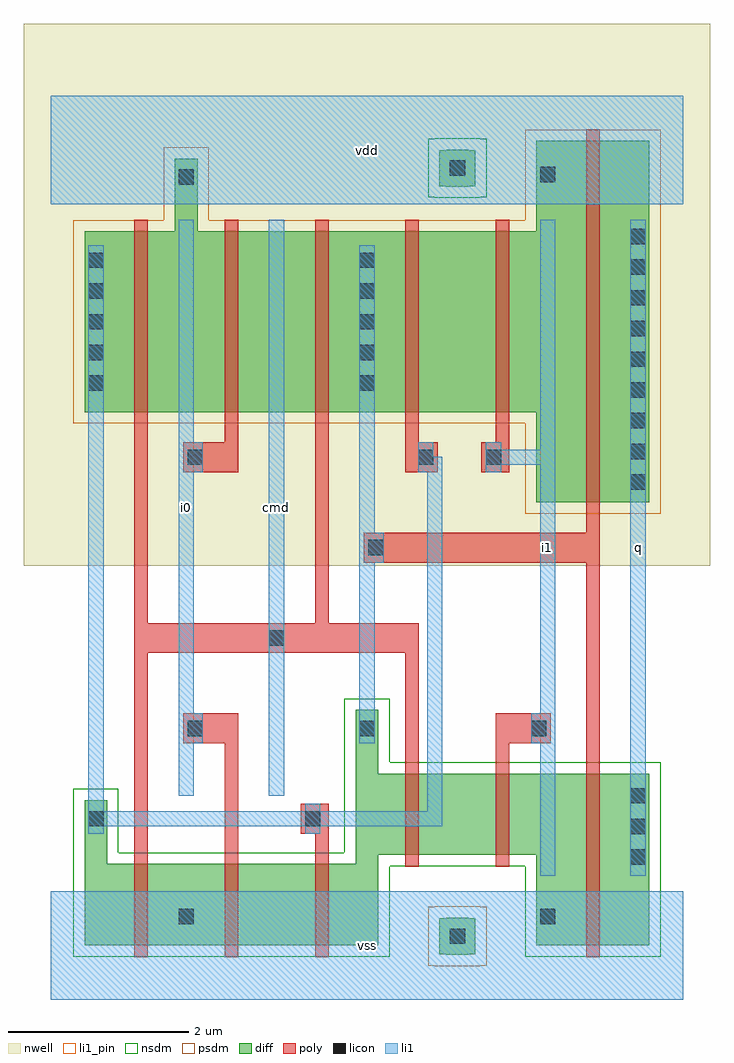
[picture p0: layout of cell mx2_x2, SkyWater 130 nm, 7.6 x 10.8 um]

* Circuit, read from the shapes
.subckt mx2_x2 cmd i0 i1 q vdd vss
XM1 vss cmd n1 VSUBS sky130_fd_pr__nfet_01v8 w=0.9 l=0.15
XM2 n2 i0 vss VSUBS sky130_fd_pr__nfet_01v8 w=0.9 l=0.15
XM3 n3 n1 n2 VSUBS sky130_fd_pr__nfet_01v8 w=0.9 l=0.15
XM4 n4 cmd n3 VSUBS sky130_fd_pr__nfet_01v8 w=0.9 l=0.15
XM5 vss i1 n4 VSUBS sky130_fd_pr__nfet_01v8 w=0.9 l=0.15
XM6 q n3 vss VSUBS sky130_fd_pr__nfet_01v8 w=1.9 l=0.15
XM7 vdd cmd n1 n5 sky130_fd_pr__pfet_01v8 w=2 l=0.15
XM8 n6 i0 vdd n5 sky130_fd_pr__pfet_01v8 w=2 l=0.15
XM9 n3 cmd n6 n5 sky130_fd_pr__pfet_01v8 w=2 l=0.15
XM10 n7 n1 n3 n5 sky130_fd_pr__pfet_01v8 w=2 l=0.15
XM11 vdd i1 n7 n5 sky130_fd_pr__pfet_01v8 w=2 l=0.15
XM12 q n3 vdd n5 sky130_fd_pr__pfet_01v8 w=4 l=0.15
.ends

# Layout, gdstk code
import gdstk
lib = gdstk.Library(unit=1e-6, precision=1e-09)
def R(c, l, rs):  # rectangles x0, y0, x1, y1
    for r in rs: c.add(gdstk.rectangle(r[:2], r[2:], *l))
def A(c, l, x, y, w, h, nx, ny, dx, dy):  # array of equal rectangles
    R(c, l, [(x+i*dx, y+j*dy, x+i*dx+w, y+j*dy+h) for i in range(nx) for j in range(ny)])
def P(c, l, *ps):  # polygons
    for p in ps: c.add(gdstk.Polygon(p, *l))
nwell = (64, 20)
diff = (65, 20)
poly = (66, 20)
licon = (66, 44)
li1_pin = (67, 16)
li1 = (67, 20)
nsdm = (93, 44)
psdm = (94, 20)

mx2_x2 = lib.new_cell('mx2_x2')
R(mx2_x2, nwell, [(-0.3,4.8,7.3,10.8)])
P(mx2_x2, diff, [(4.375,0.495),(4.375,0.5),(4.3,0.5),(4.3,0.9),(4.375,0.9),(4.375,0.905),(4.625,0.905),(4.625,0.9),(4.7,0.9),(4.7,0.5),(4.625,0.5),(4.625,0.495)],
  [(0.375,0.6),(0.375,2.205),(0.625,2.205),(0.625,1.5),(3.375,1.5),(3.375,3.205),(3.625,3.205),(3.625,2.5),(6.625,2.5),(6.625,0.6),(5.375,0.6),(5.375,1.6),(3.625,1.6),(3.625,0.6)],
  [(4.375,8.995),(4.375,9),(4.3,9),(4.3,9.4),(4.375,9.4),(4.375,9.405),(4.625,9.405),(4.625,9.4),(4.7,9.4),(4.7,9),(4.625,9),(4.625,8.995)],
  [(5.375,5.5),(5.375,6.5),(0.375,6.5),(0.375,8.5),(1.375,8.5),(1.375,9.305),(1.625,9.305),(1.625,8.5),(5.375,8.5),(5.375,9.5),(6.625,9.5),(6.625,5.5)])
P(mx2_x2, poly, [(2.925,0.47),(2.925,1.835),(2.765,1.835),(2.765,2.165),(3.075,2.165),(3.075,0.47)],
  [(1.925,0.47),(1.925,2.835),(1.465,2.835),(1.465,3.165),(2.075,3.165),(2.075,0.47)],
  [(4.925,1.47),(4.925,3.165),(5.535,3.165),(5.535,2.835),(5.075,2.835),(5.075,1.47)],
  [(1.465,5.835),(1.465,6.165),(1.925,6.165),(1.925,8.63),(2.075,8.63),(2.075,5.835)],
  [(0.925,0.47),(0.925,8.63),(1.075,8.63),(1.075,4.165),(2.925,4.165),(2.925,8.63),(3.075,8.63),(3.075,4.165),(4.075,4.165),(4.075,1.47),(3.925,1.47),(3.925,3.835),(1.075,3.835),(1.075,0.47)],
  [(3.925,5.835),(3.925,8.63),(4.075,8.63),(4.075,6.165),(4.285,6.165),(4.285,5.835)],
  [(4.765,5.835),(4.765,6.165),(4.925,6.165),(4.925,8.63),(5.075,8.63),(5.075,5.835)],
  [(5.925,0.47),(5.925,4.835),(3.465,4.835),(3.465,5.165),(5.925,5.165),(5.925,9.63),(6.075,9.63),(6.075,0.47)])
A(mx2_x2, licon, 6.415, 1.49, 0.17, 0.17, 1, 3, 0, 0.34)
A(mx2_x2, licon, 1.515, 2.915, 0.17, 0.17, 3, 1, 1.9, 0)
A(mx2_x2, licon, 6.415, 5.64, 0.17, 0.17, 1, 9, 0, 0.34)
A(mx2_x2, licon, 0.415, 6.735, 0.17, 0.17, 1, 5, 0, 0.34)
A(mx2_x2, licon, 3.415, 6.735, 0.17, 0.17, 1, 5, 0, 0.34)
R(mx2_x2, licon, [(4.415,0.615,4.585,0.785), (1.415,0.835,1.585,1.005), (5.415,0.835,5.585,1.005), (0.415,1.915,0.585,2.085), (2.815,1.915,2.985,2.085), (2.415,3.915,2.585,4.085), (3.515,4.915,3.685,5.085), (1.515,5.915,1.685,6.085), (4.065,5.915,4.235,6.085), (4.815,5.915,4.985,6.085), (1.415,9.015,1.585,9.185), (5.415,9.045,5.585,9.215), (4.415,9.115,4.585,9.285)])
R(mx2_x2, li1_pin, [(0,0,7,1.2), (5.415,1.37,5.585,8.63), (6.415,1.37,6.585,8.63), (1.415,2.255,1.585,8.63), (2.415,2.255,2.585,8.63), (0,8.8,7,10)])
R(mx2_x2, li1, [(0,0,7,1.2), (6.415,1.37,6.585,8.63), (2.415,2.255,2.585,8.63), (0,8.8,7,10)])
P(mx2_x2, li1, [(0.415,1.835),(0.415,8.345),(0.585,8.345),(0.585,2.085),(2.815,2.085),(2.815,2.165),(2.985,2.165),(2.985,2.085),(4.165,2.085),(4.165,5.835),(4.065,5.835),(4.065,6.165),(4.235,6.165),(4.235,6.005),(4.335,6.005),(4.335,1.915),(2.985,1.915),(2.985,1.835),(2.815,1.835),(2.815,1.915),(0.585,1.915),(0.585,1.835)],
  [(3.415,2.835),(3.415,8.345),(3.585,8.345),(3.585,5.165),(3.685,5.165),(3.685,4.835),(3.585,4.835),(3.585,2.835)],
  [(1.415,2.255),(1.415,8.63),(1.585,8.63),(1.585,6.165),(1.685,6.165),(1.685,5.835),(1.585,5.835),(1.585,3.165),(1.685,3.165),(1.685,2.835),(1.585,2.835),(1.585,2.255)],
  [(5.415,1.37),(5.415,2.835),(5.315,2.835),(5.315,3.165),(5.415,3.165),(5.415,5.915),(4.985,5.915),(4.985,5.835),(4.815,5.835),(4.815,6.165),(4.985,6.165),(4.985,6.085),(5.415,6.085),(5.415,8.63),(5.585,8.63),(5.585,1.37)])
P(mx2_x2, nsdm, [(0.25,0.475),(0.25,2.33),(0.75,2.33),(0.75,1.625),(3.25,1.625),(3.25,3.33),(3.75,3.33),(3.75,2.625),(6.75,2.625),(6.75,0.475),(5.25,0.475),(5.25,1.475),(3.75,1.475),(3.75,0.475)],
  [(4.25,8.87),(4.25,8.875),(4.175,8.875),(4.175,9.525),(4.25,9.525),(4.25,9.53),(4.75,9.53),(4.75,9.525),(4.825,9.525),(4.825,8.875),(4.75,8.875),(4.75,8.87)])
P(mx2_x2, psdm, [(4.25,0.37),(4.25,0.375),(4.175,0.375),(4.175,1.025),(4.25,1.025),(4.25,1.03),(4.75,1.03),(4.75,1.025),(4.825,1.025),(4.825,0.375),(4.75,0.375),(4.75,0.37)],
  [(5.25,5.375),(5.25,6.375),(0.25,6.375),(0.25,8.625),(1.25,8.625),(1.25,9.43),(1.75,9.43),(1.75,8.625),(5.25,8.625),(5.25,9.625),(6.75,9.625),(6.75,5.375)])
mx2_x2.add(gdstk.Label('vdd', (3.5,9.4), layer=67, texttype=16))
mx2_x2.add(gdstk.Label('q', (6.5,5), layer=67, texttype=16))
mx2_x2.add(gdstk.Label('vss', (3.5,0.6), layer=67, texttype=16))
mx2_x2.add(gdstk.Label('cmd', (2.5,5.443), layer=67, texttype=16))
mx2_x2.add(gdstk.Label('i0', (1.5,5.443), layer=67, texttype=16))
mx2_x2.add(gdstk.Label('i1', (5.5,5), layer=67, texttype=16))
mx2_x2.add(gdstk.Label('vdd', (3.5,9.4), layer=67, texttype=16))
mx2_x2.add(gdstk.Label('q', (6.5,5), layer=67, texttype=16))
mx2_x2.add(gdstk.Label('vss', (3.5,0.6), layer=67, texttype=16))
mx2_x2.add(gdstk.Label('cmd', (2.5,5.443), layer=67, texttype=16))
mx2_x2.add(gdstk.Label('i0', (1.5,5.443), layer=67, texttype=16))
mx2_x2.add(gdstk.Label('i1', (5.5,5), layer=67, texttype=16))

lib.write_gds('mx2_x2.gds')
